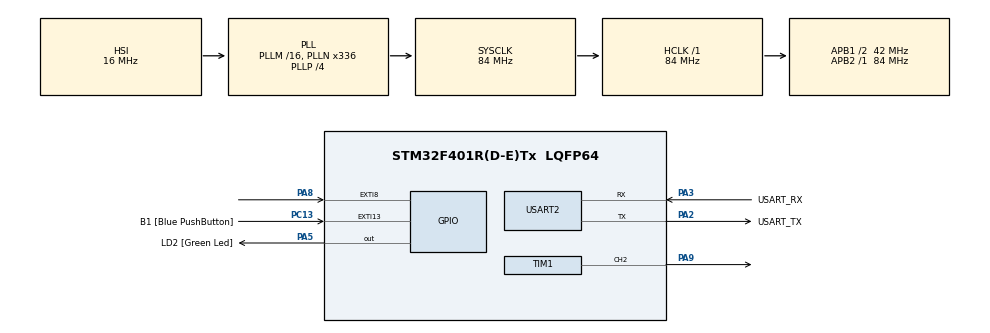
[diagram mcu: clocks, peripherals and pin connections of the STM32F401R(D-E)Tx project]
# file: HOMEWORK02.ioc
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Mcu.Family=STM32F4
Mcu.Name=STM32F401R(D-E)Tx
Mcu.Package=LQFP64
NVIC.EXTI9_5_IRQn=true\:0\:0\:false\:false\:true\:true\:true\:true
NVIC.PriorityGroup=NVIC_PRIORITYGROUP_0
PA13.GPIO_Label=TMS
PA13.Mode=Serial_Wire
PA13.Signal=SYS_JTMS-SWDIO
PA14.GPIO_Label=TCK
PA14.Mode=Serial_Wire
PA14.Signal=SYS_JTCK-SWCLK
PA2.GPIO_Label=USART_TX
PA2.GPIO_Mode=GPIO_MODE_AF_PP
PA2.GPIO_PuPd=GPIO_NOPULL
PA2.GPIO_Speed=GPIO_SPEED_FREQ_LOW
PA2.Mode=Asynchronous
PA2.Signal=USART2_TX
PA3.GPIO_Label=USART_RX
PA3.GPIO_Mode=GPIO_MODE_AF_PP
PA3.GPIO_PuPd=GPIO_NOPULL
PA3.GPIO_Speed=GPIO_SPEED_FREQ_LOW
PA3.Mode=Asynchronous
PA3.Signal=USART2_RX
PA5.GPIO_Label=LD2 [Green Led]
PA5.GPIO_Mode=GPIO_MODE_OUTPUT_PP
PA5.GPIO_PuPd=GPIO_NOPULL
PA5.GPIO_Speed=GPIO_SPEED_FREQ_LOW
PA5.Signal=GPIO_Output
PA8.GPIO_ModeDefaultEXTI=GPIO_MODE_IT_RISING
PA8.Signal=GPXTI8
PA9.Signal=S_TIM1_CH2
PB3.GPIO_Label=SWO
PB3.Signal=SYS_JTDO-SWO
PC13-ANTI_TAMP.GPIO_Label=B1 [Blue PushButton]
PC13-ANTI_TAMP.GPIO_ModeDefaultEXTI=GPIO_MODE_IT_FALLING
PC13-ANTI_TAMP.GPIO_PuPd=GPIO_NOPULL
PC13-ANTI_TAMP.Signal=GPXTI13
PC14-OSC32_IN.Mode=LSE-External-Oscillator
PC14-OSC32_IN.Signal=RCC_OSC32_IN
PC15-OSC32_OUT.Mode=LSE-External-Oscillator
PC15-OSC32_OUT.Signal=RCC_OSC32_OUT
PH0\ -\ OSC_IN.Mode=HSE-External-Clock-Source
PH0\ -\ OSC_IN.Signal=RCC_OSC_IN
PH1\ -\ OSC_OUT.Mode=HSE-External-Clock-Source
PH1\ -\ OSC_OUT.Signal=RCC_OSC_OUT
ProjectManager.HeapSize=0x200
ProjectManager.StackSize=0x400
ProjectManager.TargetToolchain=STM32CubeIDE
RCC.48MHZClocksFreq_Value=48000000
RCC.AHBFreq_Value=84000000
RCC.APB1CLKDivider=RCC_HCLK_DIV2
RCC.APB1Freq_Value=42000000
RCC.APB1TimFreq_Value=84000000
RCC.APB2Freq_Value=84000000
RCC.APB2TimFreq_Value=84000000
RCC.CortexFreq_Value=84000000
RCC.HCLKFreq_Value=84000000
RCC.HSE_VALUE=8000000
RCC.HSI_VALUE=16000000
RCC.PLLN=336
RCC.PLLP=RCC_PLLP_DIV4
RCC.PLLQ=7
RCC.SYSCLKFreq_VALUE=84000000
RCC.SYSCLKSource=RCC_SYSCLKSOURCE_PLLCLK
RCC.VCOOutputFreq_Value=336000000
SH.S_TIM1_CH2.0=TIM1_CH2,PWM Generation2 CH2
TIM1.Channel-PWM\ Generation2\ CH2=TIM_CHANNEL_2
TIM1.Period=1908
TIM1.Prescaler=99
USART2.VirtualMode=VM_ASYNC
VP_TIM1_VS_ClockSourceINT.Mode=Internal
board=NUCLEO-F401RE

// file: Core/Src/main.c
/* USER CODE BEGIN Header */
/**
  ******************************************************************************
  * @file           : main.c
  * @brief          : Main program body
  ******************************************************************************
  * @attention
  *
  * Copyright (c) 2023 STMicroelectronics.
  * All rights reserved.
  *
  * This software is licensed under terms that can be found in the LICENSE file
  * in the root directory of this software component.
  * If no LICENSE file comes with this software, it is provided AS-IS.
  *
  ******************************************************************************
  */
/* USER CODE END Header */
#include "main.h"

/* USER CODE BEGIN PTD */

struct note{
	int tone;
	int duration;
};

/* USER CODE END PTD */

/* USER CODE BEGIN PD */
#define TEMPO 75
#define SOL 2141
#define LA 1908
#define FA 2405
#define MI 2544
#define RE 2856
#define DO 3205
/* USER CODE END PD */

TIM_HandleTypeDef htim1;

UART_HandleTypeDef huart2;

/* USER CODE BEGIN PV */
int snapFinger;

struct note score[] = {
			{SOL,6},
			{LA,2},
			{SOL,4},
			{FA,4},
			{MI,4},
			{FA,4},
			{SOL,8},
			{RE,4},
			{MI,4},
			{FA,8},
			{MI,4},
			{FA,4},
			{SOL,8},
			{SOL,6},
			{LA,2},
			{SOL,4},
			{FA,4},
			{MI,4},
			{FA,4},
			{SOL,8},
			{RE,8},
			{SOL,8},
			{MI,4},
			{DO,8}
		};

/* USER CODE END PV */

void SystemClock_Config(void);
static void MX_GPIO_Init(void);
static void MX_USART2_UART_Init(void);
static void MX_TIM1_Init(void);

/* USER CODE BEGIN 0 */

void playnote(struct note note_playing){
	// copied by declaration of MX_TIM1_Init

	  TIM_ClockConfigTypeDef sClockSourceConfig = {0};
	  TIM_MasterConfigTypeDef sMasterConfig = {0};
	  TIM_OC_InitTypeDef sConfigOC = {0};
	  TIM_BreakDeadTimeConfigTypeDef sBreakDeadTimeConfig = {0};

	  /* USER CODE BEGIN TIM1_Init 1 */

	  /* USER CODE END TIM1_Init 1 */
	  htim1.Instance = TIM1;
	  htim1.Init.Prescaler = 99;
	  htim1.Init.CounterMode = TIM_COUNTERMODE_UP;
	  htim1.Init.Period = note_playing.tone;
	  htim1.Init.ClockDivision = TIM_CLOCKDIVISION_DIV1;
	  htim1.Init.RepetitionCounter = 0;
	  htim1.Init.AutoReloadPreload = TIM_AUTORELOAD_PRELOAD_DISABLE;
	  if (HAL_TIM_Base_Init(&htim1) != HAL_OK)
	  {
	    Error_Handler();
	  }
	  sClockSourceConfig.ClockSource = TIM_CLOCKSOURCE_INTERNAL;
	  if (HAL_TIM_ConfigClockSource(&htim1, &sClockSourceConfig) != HAL_OK)
	  {
	    Error_Handler();
	  }
	  if (HAL_TIM_PWM_Init(&htim1) != HAL_OK)
	  {
	    Error_Handler();
	  }
	  sMasterConfig.MasterOutputTrigger = TIM_TRGO_RESET;
	  sMasterConfig.MasterSlaveMode = TIM_MASTERSLAVEMODE_DISABLE;
	  if (HAL_TIMEx_MasterConfigSynchronization(&htim1, &sMasterConfig) != HAL_OK)
	  {
	    Error_Handler();
	  }
	  sConfigOC.OCMode = TIM_OCMODE_PWM1;
	  sConfigOC.Pulse = note_playing.tone/2;
	  sConfigOC.OCPolarity = TIM_OCPOLARITY_HIGH;
	  sConfigOC.OCNPolarity = TIM_OCNPOLARITY_HIGH;
	  sConfigOC.OCFastMode = TIM_OCFAST_DISABLE;
	  sConfigOC.OCIdleState = TIM_OCIDLESTATE_RESET;
	  sConfigOC.OCNIdleState = TIM_OCNIDLESTATE_RESET;
	  if (HAL_TIM_PWM_ConfigChannel(&htim1, &sConfigOC, TIM_CHANNEL_2) != HAL_OK)
	  {
	    Error_Handler();
	  }
	  HAL_TIM_PWM_Start(&htim1, TIM_CHANNEL_2);
	  HAL_Delay(note_playing.duration*TEMPO);
	  HAL_TIM_PWM_Stop(&htim1, TIM_CHANNEL_2);

}

void playsong(){
	int length=sizeof(score)/sizeof(score[0]);
	for(int i=0; i<length;i++){
		playnote(score[i]);
	}
}

void HAL_GPIO_EXTI_Callback(uint16_t GPIO_Pin){
	switch (GPIO_Pin){
	case GPIO_PIN_8:
		snapFinger=1;
		break;
	default:
		break;

	}
}
/* USER CODE END 0 */

int main(void)
{

  /* MCU Configuration--------------------------------------------------------*/

  /* Reset of all peripherals, Initializes the Flash interface and the Systick. */
  HAL_Init();

  /* Configure the system clock */
  SystemClock_Config();

  /* Initialize all configured peripherals */
  MX_GPIO_Init();
  MX_USART2_UART_Init();
  MX_TIM1_Init();

  /* Infinite loop */
  /* USER CODE BEGIN WHILE */
  while (1)
  {
	  if(snapFinger){
		  playsong();
		  snapFinger=0;
	  }

	  /* USER CODE END WHILE */
  }
}

void SystemClock_Config(void)
{
  RCC_OscInitTypeDef RCC_OscInitStruct = {0};
  RCC_ClkInitTypeDef RCC_ClkInitStruct = {0};

  /** Configure the main internal regulator output voltage
  */
  __HAL_RCC_PWR_CLK_ENABLE();
  __HAL_PWR_VOLTAGESCALING_CONFIG(PWR_REGULATOR_VOLTAGE_SCALE2);

  /** Initializes the RCC Oscillators according to the specified parameters
  * in the RCC_OscInitTypeDef structure.
  */
  RCC_OscInitStruct.OscillatorType = RCC_OSCILLATORTYPE_HSI;
  RCC_OscInitStruct.HSIState = RCC_HSI_ON;
  RCC_OscInitStruct.HSICalibrationValue = RCC_HSICALIBRATION_DEFAULT;
  RCC_OscInitStruct.PLL.PLLState = RCC_PLL_ON;
  RCC_OscInitStruct.PLL.PLLSource = RCC_PLLSOURCE_HSI;
  RCC_OscInitStruct.PLL.PLLM = 16;
  RCC_OscInitStruct.PLL.PLLN = 336;
  RCC_OscInitStruct.PLL.PLLP = RCC_PLLP_DIV4;
  RCC_OscInitStruct.PLL.PLLQ = 7;
  if (HAL_RCC_OscConfig(&RCC_OscInitStruct) != HAL_OK)
  {
    Error_Handler();
  }

  /** Initializes the CPU, AHB and APB buses clocks
  */
  RCC_ClkInitStruct.ClockType = RCC_CLOCKTYPE_HCLK|RCC_CLOCKTYPE_SYSCLK
                              |RCC_CLOCKTYPE_PCLK1|RCC_CLOCKTYPE_PCLK2;
  RCC_ClkInitStruct.SYSCLKSource = RCC_SYSCLKSOURCE_PLLCLK;
  RCC_ClkInitStruct.AHBCLKDivider = RCC_SYSCLK_DIV1;
  RCC_ClkInitStruct.APB1CLKDivider = RCC_HCLK_DIV2;
  RCC_ClkInitStruct.APB2CLKDivider = RCC_HCLK_DIV1;

  if (HAL_RCC_ClockConfig(&RCC_ClkInitStruct, FLASH_LATENCY_2) != HAL_OK)
  {
    Error_Handler();
  }
}

static void MX_TIM1_Init(void)
{

  TIM_ClockConfigTypeDef sClockSourceConfig = {0};
  TIM_MasterConfigTypeDef sMasterConfig = {0};
  TIM_OC_InitTypeDef sConfigOC = {0};
  TIM_BreakDeadTimeConfigTypeDef sBreakDeadTimeConfig = {0};

  htim1.Instance = TIM1;
  htim1.Init.Prescaler = 99;
  htim1.Init.CounterMode = TIM_COUNTERMODE_UP;
  htim1.Init.Period = 1908;
  htim1.Init.ClockDivision = TIM_CLOCKDIVISION_DIV1;
  htim1.Init.RepetitionCounter = 0;
  htim1.Init.AutoReloadPreload = TIM_AUTORELOAD_PRELOAD_DISABLE;
  if (HAL_TIM_Base_Init(&htim1) != HAL_OK)
  {
    Error_Handler();
  }
  sClockSourceConfig.ClockSource = TIM_CLOCKSOURCE_INTERNAL;
  if (HAL_TIM_ConfigClockSource(&htim1, &sClockSourceConfig) != HAL_OK)
  {
    Error_Handler();
  }
  if (HAL_TIM_PWM_Init(&htim1) != HAL_OK)
  {
    Error_Handler();
  }
  sMasterConfig.MasterOutputTrigger = TIM_TRGO_RESET;
  sMasterConfig.MasterSlaveMode = TIM_MASTERSLAVEMODE_DISABLE;
  if (HAL_TIMEx_MasterConfigSynchronization(&htim1, &sMasterConfig) != HAL_OK)
  {
    Error_Handler();
  }
  sConfigOC.OCMode = TIM_OCMODE_PWM1;
  sConfigOC.Pulse = 0;
  sConfigOC.OCPolarity = TIM_OCPOLARITY_HIGH;
  sConfigOC.OCNPolarity = TIM_OCNPOLARITY_HIGH;
  sConfigOC.OCFastMode = TIM_OCFAST_DISABLE;
  sConfigOC.OCIdleState = TIM_OCIDLESTATE_RESET;
  sConfigOC.OCNIdleState = TIM_OCNIDLESTATE_RESET;
  if (HAL_TIM_PWM_ConfigChannel(&htim1, &sConfigOC, TIM_CHANNEL_2) != HAL_OK)
  {
    Error_Handler();
  }
  sBreakDeadTimeConfig.OffStateRunMode = TIM_OSSR_DISABLE;
  sBreakDeadTimeConfig.OffStateIDLEMode = TIM_OSSI_DISABLE;
  sBreakDeadTimeConfig.LockLevel = TIM_LOCKLEVEL_OFF;
  sBreakDeadTimeConfig.DeadTime = 0;
  sBreakDeadTimeConfig.BreakState = TIM_BREAK_DISABLE;
  sBreakDeadTimeConfig.BreakPolarity = TIM_BREAKPOLARITY_HIGH;
  sBreakDeadTimeConfig.AutomaticOutput = TIM_AUTOMATICOUTPUT_DISABLE;
  if (HAL_TIMEx_ConfigBreakDeadTime(&htim1, &sBreakDeadTimeConfig) != HAL_OK)
  {
    Error_Handler();
  }
  HAL_TIM_MspPostInit(&htim1);

}

static void MX_USART2_UART_Init(void)
{

  huart2.Instance = USART2;
  huart2.Init.BaudRate = 115200;
  huart2.Init.WordLength = UART_WORDLENGTH_8B;
  huart2.Init.StopBits = UART_STOPBITS_1;
  huart2.Init.Parity = UART_PARITY_NONE;
  huart2.Init.Mode = UART_MODE_TX_RX;
  huart2.Init.HwFlowCtl = UART_HWCONTROL_NONE;
  huart2.Init.OverSampling = UART_OVERSAMPLING_16;
  if (HAL_UART_Init(&huart2) != HAL_OK)
  {
    Error_Handler();
  }

}

static void MX_GPIO_Init(void)
{
  GPIO_InitTypeDef GPIO_InitStruct = {0};

  /* GPIO Ports Clock Enable */
  __HAL_RCC_GPIOC_CLK_ENABLE();
  __HAL_RCC_GPIOH_CLK_ENABLE();
  __HAL_RCC_GPIOA_CLK_ENABLE();
  __HAL_RCC_GPIOB_CLK_ENABLE();

  /*Configure GPIO pin Output Level */
  HAL_GPIO_WritePin(LD2_GPIO_Port, LD2_Pin, GPIO_PIN_RESET);

  /*Configure GPIO pin : B1_Pin */
  GPIO_InitStruct.Pin = B1_Pin;
  GPIO_InitStruct.Mode = GPIO_MODE_IT_FALLING;
  GPIO_InitStruct.Pull = GPIO_NOPULL;
  HAL_GPIO_Init(B1_GPIO_Port, &GPIO_InitStruct);

  /*Configure GPIO pin : LD2_Pin */
  GPIO_InitStruct.Pin = LD2_Pin;
  GPIO_InitStruct.Mode = GPIO_MODE_OUTPUT_PP;
  GPIO_InitStruct.Pull = GPIO_NOPULL;
  GPIO_InitStruct.Speed = GPIO_SPEED_FREQ_LOW;
  HAL_GPIO_Init(LD2_GPIO_Port, &GPIO_InitStruct);

  /*Configure GPIO pin : PA8 */
  GPIO_InitStruct.Pin = GPIO_PIN_8;
  GPIO_InitStruct.Mode = GPIO_MODE_IT_RISING;
  GPIO_InitStruct.Pull = GPIO_NOPULL;
  HAL_GPIO_Init(GPIOA, &GPIO_InitStruct);

  /* EXTI interrupt init*/
  HAL_NVIC_SetPriority(EXTI9_5_IRQn, 0, 0);
  HAL_NVIC_EnableIRQ(EXTI9_5_IRQn);

}

void Error_Handler(void)
{
  __disable_irq();
  while (1)
  {
  }
}
